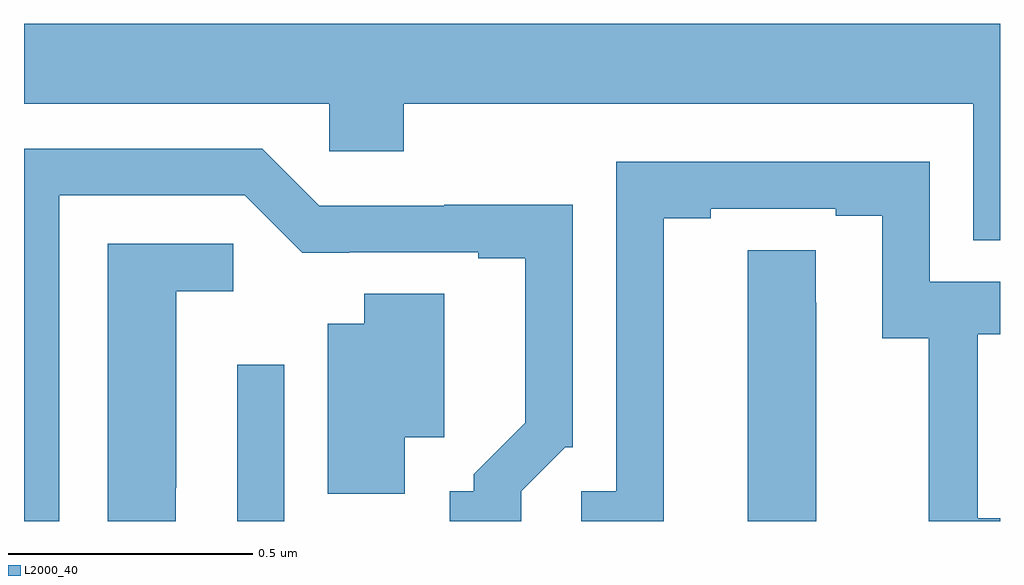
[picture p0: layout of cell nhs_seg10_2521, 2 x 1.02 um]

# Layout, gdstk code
import gdstk
lib = gdstk.Library(unit=1e-6, precision=1e-09)
def R(c, l, rs):  # rectangles x0, y0, x1, y1
    for r in rs: c.add(gdstk.rectangle(r[:2], r[2:], *l))
def P(c, l, *ps):  # polygons
    for p in ps: c.add(gdstk.Polygon(p, *l))
L2000_40 = (2000, 40)

nhs_seg10_2521 = lib.new_cell('nhs_seg10_2521')
R(nhs_seg10_2521, L2000_40, [(142.437,1259.5,142.533,1259.821)])
P(nhs_seg10_2521, L2000_40, [(144,1260.52),(142,1260.52),(142,1260.356),(142.626,1260.356),(142.626,1260.258),(142.778,1260.258),(142.778,1260.356),(143.945,1260.356),(143.945,1260.076),(144,1260.076)],
  [(142.072,1260.168),(142.452,1260.168),(142.57,1260.05),(142.666,1260.05),(142.666,1260.051),(142.931,1260.051),(142.931,1260.039),(143.027,1260.039),(143.027,1259.702),(142.922,1259.597),(142.922,1259.562),(142.872,1259.562),(142.872,1259.5),(143.019,1259.5),(143.019,1259.562),(143.109,1259.652),(143.124,1259.652),(143.124,1260.149),(142.861,1260.149),(142.861,1260.147),(142.605,1260.147),(142.488,1260.264),(142,1260.264),(142,1259.5),(142.072,1259.5)],
  [(143.311,1260.121),(143.407,1260.121),(143.407,1260.141),(143.663,1260.141),(143.663,1260.126),(143.759,1260.126),(143.759,1259.875),(143.854,1259.875),(143.854,1259.5),(144,1259.5),(144,1259.506),(143.954,1259.506),(143.954,1259.883),(144,1259.883),(144,1259.991),(143.856,1259.991),(143.856,1260.237),(143.214,1260.237),(143.214,1259.562),(143.142,1259.562),(143.142,1259.5),(143.311,1259.5)],
  [(142.311,1259.569),(142.312,1259.569),(142.312,1259.972),(142.429,1259.972),(142.429,1260.069),(142.172,1260.069),(142.172,1259.5),(142.311,1259.5)],
  [(143.623,1259.948),(143.622,1259.948),(143.622,1260.056),(143.483,1260.056),(143.483,1259.5),(143.623,1259.5)],
  [(142.78,1259.672),(142.861,1259.672),(142.861,1259.966),(142.697,1259.966),(142.697,1259.905),(142.622,1259.905),(142.622,1259.557),(142.78,1259.557)])

lib.write_gds('nhs_seg10_2521.gds')
